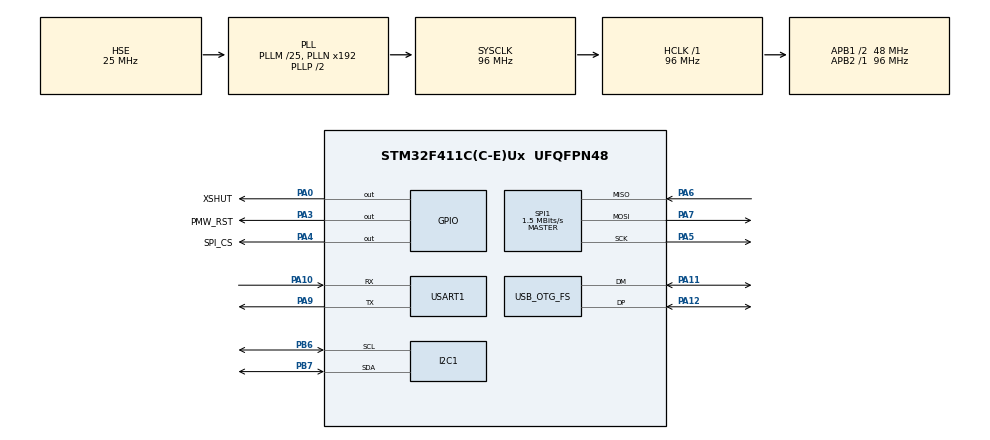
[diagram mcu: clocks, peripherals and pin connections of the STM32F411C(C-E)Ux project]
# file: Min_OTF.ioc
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Dma.Request0=USART1_TX
Dma.USART1_TX.0.Direction=DMA_MEMORY_TO_PERIPH
Dma.USART1_TX.0.FIFOMode=DMA_FIFOMODE_DISABLE
Dma.USART1_TX.0.Instance=DMA2_Stream7
Dma.USART1_TX.0.MemDataAlignment=DMA_MDATAALIGN_BYTE
Dma.USART1_TX.0.MemInc=DMA_MINC_ENABLE
Dma.USART1_TX.0.Mode=DMA_NORMAL
Dma.USART1_TX.0.PeriphDataAlignment=DMA_PDATAALIGN_BYTE
Dma.USART1_TX.0.PeriphInc=DMA_PINC_DISABLE
Dma.USART1_TX.0.Priority=DMA_PRIORITY_LOW
I2C1.I2C_Mode=I2C_Fast
Mcu.Family=STM32F4
Mcu.Name=STM32F411C(C-E)Ux
Mcu.Package=UFQFPN48
NVIC.DMA2_Stream7_IRQn=true\:0\:0\:false\:false\:true\:false\:true\:true
NVIC.OTG_FS_IRQn=true\:0\:0\:false\:false\:true\:false\:true\:true
NVIC.PriorityGroup=NVIC_PRIORITYGROUP_4
PA0-WKUP.GPIO_Label=XSHUT
PA0-WKUP.PinState=GPIO_PIN_SET
PA0-WKUP.Signal=GPIO_Output
PA10.Mode=Asynchronous
PA10.Signal=USART1_RX
PA11.Mode=Device_Only
PA11.Signal=USB_OTG_FS_DM
PA12.Mode=Device_Only
PA12.Signal=USB_OTG_FS_DP
PA13.Mode=Serial_Wire
PA13.Signal=SYS_JTMS-SWDIO
PA14.Mode=Serial_Wire
PA14.Signal=SYS_JTCK-SWCLK
PA3.GPIO_Label=PMW_RST
PA3.PinState=GPIO_PIN_SET
PA3.Signal=GPIO_Output
PA4.GPIO_Label=SPI_CS
PA4.PinState=GPIO_PIN_SET
PA4.Signal=GPIO_Output
PA5.Mode=Full_Duplex_Master
PA5.Signal=SPI1_SCK
PA6.Mode=Full_Duplex_Master
PA6.Signal=SPI1_MISO
PA7.Mode=Full_Duplex_Master
PA7.Signal=SPI1_MOSI
PA9.Mode=Asynchronous
PA9.Signal=USART1_TX
PB6.Mode=I2C
PB6.Signal=I2C1_SCL
PB7.Mode=I2C
PB7.Signal=I2C1_SDA
PH0\ -\ OSC_IN.Mode=HSE-External-Oscillator
PH0\ -\ OSC_IN.Signal=RCC_OSC_IN
PH1\ -\ OSC_OUT.Mode=HSE-External-Oscillator
PH1\ -\ OSC_OUT.Signal=RCC_OSC_OUT
ProjectManager.HeapSize=0x600
ProjectManager.StackSize=0x400
ProjectManager.TargetToolchain=STM32CubeIDE
RCC.48MHZClocksFreq_Value=48000000
RCC.AHBFreq_Value=96000000
RCC.APB1CLKDivider=RCC_HCLK_DIV2
RCC.APB1Freq_Value=48000000
RCC.APB1TimFreq_Value=96000000
RCC.APB2Freq_Value=96000000
RCC.APB2TimFreq_Value=96000000
RCC.CortexFreq_Value=96000000
RCC.HCLKFreq_Value=96000000
RCC.HSE_VALUE=25000000
RCC.HSI_VALUE=16000000
RCC.LSE_VALUE=32768
RCC.PLLM=25
RCC.SYSCLKFreq_VALUE=96000000
RCC.SYSCLKSource=RCC_SYSCLKSOURCE_PLLCLK
RCC.VCOOutputFreq_Value=192000000
SPI1.BaudRatePrescaler=SPI_BAUDRATEPRESCALER_64
SPI1.CLKPhase=SPI_PHASE_2EDGE
SPI1.CLKPolarity=SPI_POLARITY_HIGH
SPI1.CalculateBaudRate=1.5 MBits/s
SPI1.Direction=SPI_DIRECTION_2LINES
SPI1.Mode=SPI_MODE_MASTER
SPI1.VirtualType=VM_MASTER
USART1.VirtualMode=VM_ASYNC
USB_DEVICE.CLASS_NAME_FS=CDC
USB_DEVICE.VirtualMode=Cdc
USB_DEVICE.VirtualModeFS=Cdc_FS
USB_OTG_FS.VirtualMode=Device_Only
VP_USB_DEVICE_VS_USB_DEVICE_CDC_FS.Mode=CDC_FS
board=custom

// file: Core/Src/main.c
/* USER CODE BEGIN Header */
/**
  ******************************************************************************
  * @file           : main.c
  * @brief          : Main program body
  ******************************************************************************
  * @attention
  *
  * Copyright (c) 2026 STMicroelectronics.
  * All rights reserved.
  *
  * This software is licensed under terms that can be found in the LICENSE file
  * in the root directory of this software component.
  * If no LICENSE file comes with this software, it is provided AS-IS.
  *
  ******************************************************************************
  */
/* USER CODE END Header */
#include "main.h"
#include "dma.h"
#include "i2c.h"
#include "spi.h"
#include "usart.h"
#include "usb_device.h"
#include "gpio.h"

/* USER CODE BEGIN Includes */
#include "vl53l1x_wrapper.h"
#include <stdio.h>
#include "usbd_cdc_if.h"
#include <string.h>
#include "app_sensor.h"
/* USER CODE END Includes */

void SystemClock_Config(void);

/* USER CODE BEGIN 0 */

char usb_buf[64];

/* USER CODE END 0 */

int main(void)
{

  /* MCU Configuration--------------------------------------------------------*/

  /* Reset of all peripherals, Initializes the Flash interface and the Systick. */
  HAL_Init();

  /* Configure the system clock */
  SystemClock_Config();

  /* Initialize all configured peripherals */
  MX_GPIO_Init();
  MX_DMA_Init();
  MX_I2C1_Init();
  MX_SPI1_Init();
  MX_USART1_UART_Init();
  MX_USB_DEVICE_Init();
  /* USER CODE BEGIN 2 */
  if(App_Sensor_Init() != 0){
	  while(1){
		  char err[] = "Sensor Fail!\r\n";
		  CDC_Transmit_FS((uint8_t*)err, strlen(err));
		  HAL_Delay(1000);
	  }
  }
  /* USER CODE END 2 */

  /* Infinite loop */
  while (1)
  {

    /* USER CODE BEGIN 3 */
	  App_Sensor_Update();
	  App_SensorData_t *data = App_Sensor_GetData();

	  if(data->alt.is_valid && data->flow.is_valid){
	       int len = sprintf(usb_buf, "Alt=%.1f dX=%d dY=%d Sq=%d\r\n",
	                    data->alt.altitude_mm,
	                    data->flow.deltaX,
	                    data->flow.deltaY,
	                    data->flow.squal);
	       CDC_Transmit_FS((uint8_t*)usb_buf, len);
	  }
	  HAL_Delay(33);
  }
  /* USER CODE END 3 */
}

void SystemClock_Config(void)
{
  RCC_OscInitTypeDef RCC_OscInitStruct = {0};
  RCC_ClkInitTypeDef RCC_ClkInitStruct = {0};

  /** Configure the main internal regulator output voltage
  */
  __HAL_RCC_PWR_CLK_ENABLE();
  __HAL_PWR_VOLTAGESCALING_CONFIG(PWR_REGULATOR_VOLTAGE_SCALE1);

  /** Initializes the RCC Oscillators according to the specified parameters
  * in the RCC_OscInitTypeDef structure.
  */
  RCC_OscInitStruct.OscillatorType = RCC_OSCILLATORTYPE_HSE;
  RCC_OscInitStruct.HSEState = RCC_HSE_ON;
  RCC_OscInitStruct.PLL.PLLState = RCC_PLL_ON;
  RCC_OscInitStruct.PLL.PLLSource = RCC_PLLSOURCE_HSE;
  RCC_OscInitStruct.PLL.PLLM = 25;
  RCC_OscInitStruct.PLL.PLLN = 192;
  RCC_OscInitStruct.PLL.PLLP = RCC_PLLP_DIV2;
  RCC_OscInitStruct.PLL.PLLQ = 4;
  if (HAL_RCC_OscConfig(&RCC_OscInitStruct) != HAL_OK)
  {
    Error_Handler();
  }

  /** Initializes the CPU, AHB and APB buses clocks
  */
  RCC_ClkInitStruct.ClockType = RCC_CLOCKTYPE_HCLK|RCC_CLOCKTYPE_SYSCLK
                              |RCC_CLOCKTYPE_PCLK1|RCC_CLOCKTYPE_PCLK2;
  RCC_ClkInitStruct.SYSCLKSource = RCC_SYSCLKSOURCE_PLLCLK;
  RCC_ClkInitStruct.AHBCLKDivider = RCC_SYSCLK_DIV1;
  RCC_ClkInitStruct.APB1CLKDivider = RCC_HCLK_DIV2;
  RCC_ClkInitStruct.APB2CLKDivider = RCC_HCLK_DIV1;

  if (HAL_RCC_ClockConfig(&RCC_ClkInitStruct, FLASH_LATENCY_3) != HAL_OK)
  {
    Error_Handler();
  }
}

void Error_Handler(void)
{
  __disable_irq();
  while (1)
  {
  }
}
